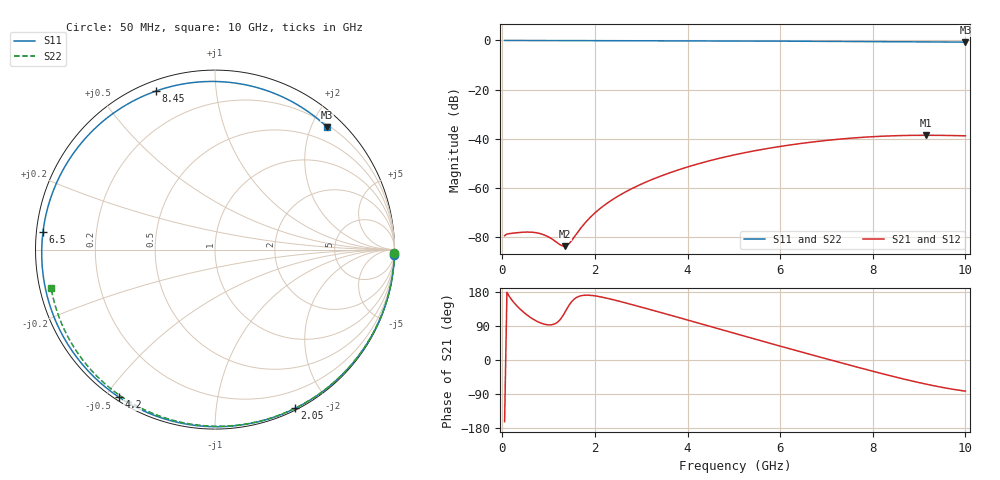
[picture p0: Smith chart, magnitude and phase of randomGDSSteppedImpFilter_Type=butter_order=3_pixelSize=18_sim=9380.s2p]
! freq	dB(S11)	phase(S11)	dB(S12)	phase(S12)
!  dB(S21)	phase(S21)	dB(S22)	phase(S22)
!S-par simulation data
#  GHz  S  DB  R 50
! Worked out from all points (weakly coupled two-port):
!   200 points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, 50 MHz to 10 GHz, reference 50 ohm
!   highest |S21| = -38.58 dB at 9.15 GHz (marker M1); lowest = -83.7 dB at 1.35 GHz (marker M2)
!   lowest |S11| = -0.7 dB at 10 GHz (marker M3), VSWR 25.69, Z = 11.9 + j113 ohm
!   |S11| at or under -10 dB: nowhere
!   |S22| runs from -0.6 to 0.0 dB; largest |S21 - S12| = 0
!   S11 on the Smith chart (normalised r, x): 50 MHz: 0, -72; 2.05 GHz: 0.02, -1.62; 4.2 GHz: 0.01, -0.54; 6.5 GHz: 0.02, +0.05; 8.45 GHz: 0.04, +0.70; 10 GHz: 0.24, +2.25
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0.05  -0.00 -1.6  -79.41 -162.6  -79.41 -162.6  -0.00 -0.9
0.15  -0.00 -4.8  -78.59 168.0  -78.59 168.0  -0.00 -2.8
0.6  -0.02 -19.0  -77.98 112.9  -77.98 112.9  -0.01 -11.4
1  -0.04 -31.5  -79.96 92.7  -79.96 92.7  -0.02 -18.9
1.35  -0.05 -42.3  -83.70 125.4  -83.70 125.4  -0.03 -25.4
1.55  -0.06 -48.3  -80.07 160.5  -80.07 160.5  -0.04 -29.1
1.75  -0.07 -54.3  -75.06 170.6  -75.06 170.6  -0.04 -32.8
2.05  -0.08 -63.2  -69.34 168.3  -69.34 168.3  -0.05 -38.2
2.65  -0.10 -80.6  -61.73 151.1  -61.73 151.1  -0.06 -49.0
3.4  -0.13 -101.5  -55.34 126.1  -55.34 126.1  -0.08 -62.1
4.2  -0.17 -123.2  -50.36 98.7  -50.36 98.7  -0.11 -75.7
5.05  -0.21 -145.9  -46.39 69.2  -46.39 69.2  -0.14 -89.7
5.8  -0.27 -166.2  -43.73 43.4  -43.73 43.4  -0.17 -101.6
6.5  -0.32 174.0  -41.79 19.7  -41.79 19.7  -0.21 -112.5
6.7  -0.34 168.1  -41.32 13.0  -41.32 13.0  -0.23 -115.6
7.5  -0.42 143.3  -39.80 -13.5  -39.80 -13.5  -0.29 -127.9
8.35  -0.50 114.0  -38.84 -40.7  -38.84 -40.7  -0.36 -140.9
8.45  -0.51 110.3  -38.78 -43.8  -38.78 -43.8  -0.37 -142.4
8.8  -0.55 97.0  -38.63 -54.1  -38.63 -54.1  -0.41 -147.9
9.15  -0.59 83.1  -38.58 -63.7  -38.58 -63.7  -0.45 -153.3
9.55  -0.63 66.6  -38.63 -73.4  -38.63 -73.4  -0.50 -159.7
10  -0.68 47.5  -38.79 -82.2  -38.79 -82.2  -0.56 -167.0
